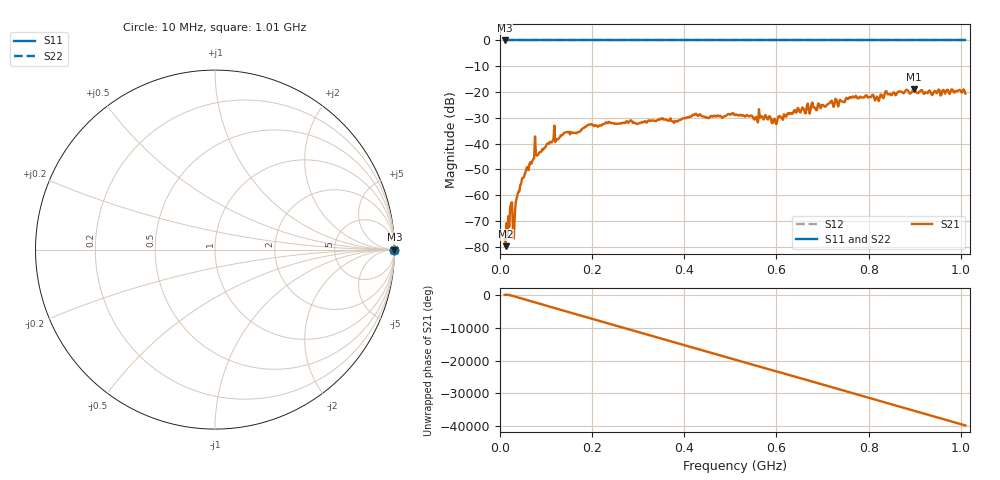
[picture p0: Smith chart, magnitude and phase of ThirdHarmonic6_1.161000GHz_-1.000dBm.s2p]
! 8/16/2025 11:38:52 AM
! C:\ANRITSUVNA\TEMP\TEMP.S2P
! CHANNEL.1
! TR.MEASUREMENT
! RAW.DATA
! RF.CORRECTION.OFF
! AVERAGING.OFF
! IF.BANDWIDTH: 5KHZ
! SWEEPTYPE:  FREQ.SWEEP(Linear)
! Reference Plane Port Info
! PORT:  PORT1  PORT2
! DISTANCE:  0  m  0  m
! TIME:  0  s  0  s
! PHASE.OFFSET:  0  deg.  0  deg.
! LOSS:  0  dB  0  dB
! REF.LOSS:  0  dB  0  dB
! REF.FREQ:  0  Hz  0  Hz
! Power Info
! POWER:  -20  dBm  -20  dBm
! EFF.POWER:  -20  dBm  -20  dBm
! SOURCE.ATTEN:  0  dB  0  dB
! TEST.ATTEN:  0  dB  0  dB
# GHZ S RI R 50.0
! FREQ.GHZ  S11RE  S11IM  S21RE  S21IM  S12RE  S12IM  S22RE  S22IM
!; PortSelection: Port_12
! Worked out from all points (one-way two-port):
!   501 points, 10 MHz to 1.01 GHz, reference 50 ohm
!   highest |S21| = -18.87 dB at 898 MHz (marker M1); lowest = -79.8 dB at 12 MHz (marker M2)
!   lowest |S11| = 0.0 dB at 10 MHz (marker M3)
!   |S11| at or under -10 dB: nowhere
!   |S22| runs from 0.0 to 0.0 dB; largest |S21 - S12| = 1.1
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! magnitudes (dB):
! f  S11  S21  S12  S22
! 10 MHz  0.0  -76.8  0.0  0.0
! 12 MHz  0.0  -79.8  0.0  0.0
! 16 MHz  0.0  -75.7  0.0  0.0
! 22 MHz  0.0  -64.9  0.0  0.0
! 32 MHz  0.0  -68.0  0.0  0.0
! 36 MHz  0.0  -61.3  0.0  0.0
! 44 MHz  0.0  -56.1  0.0  0.0
! 74 MHz  0.0  -45.7  0.0  0.0
! 84 MHz  0.0  -43.9  0.0  0.0
! 114 MHz  0.0  -38.8  0.0  0.0
! 178 MHz  0.0  -34.3  0.0  0.0
! 196 MHz  0.0  -32.7  0.0  0.0
! 344 MHz  0.0  -30.6  0.0  0.0
! 380 MHz  0.0  -31.2  0.0  0.0
! 510 MHz  0.0  -29.0  0.0  0.0
! 556 MHz  0.0  -29.7  0.0  0.0
! 566 MHz  0.0  -29.5  0.0  0.0
! 596 MHz  0.0  -30.4  0.0  0.0
! 678 MHz  0.0  -24.0  0.0  0.0
! 844 MHz  0.0  -20.8  0.0  0.0
! 898 MHz  0.0  -18.9  0.0  0.0
! 1.01 GHz  0.0  -20.6  0.0  0.0
